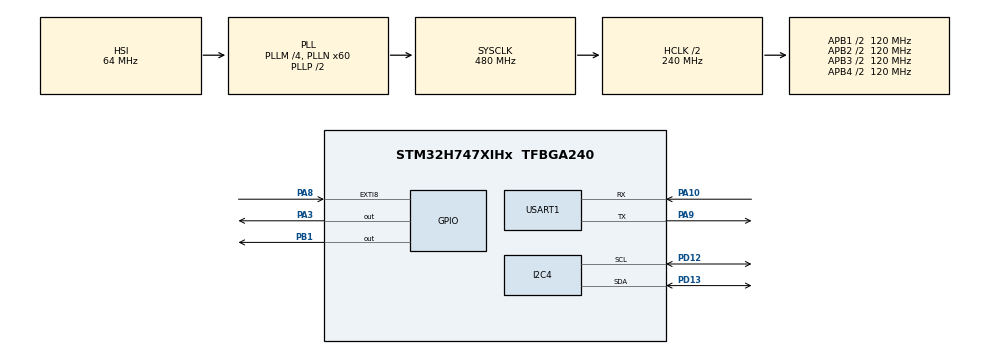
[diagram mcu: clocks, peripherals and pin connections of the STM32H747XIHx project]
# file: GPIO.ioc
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CortexM4.IPs=CORTEX_M4\:I,DEBUG,FATFS_M4\:I,FREERTOS_M4\:I,IWDG2\:I,OPENAMP_M4\:I,PDM2PCM_M4\:I,PWR,RCC,RESMGR_UTILITY,SYS_M4\:I,USB_DEVICE_M4\:I,USB_HOST_M4\:I,VREFBUF,WWDG2\:I,GPIO,DMA,BDMA,MDMA,NVIC2\:I
CortexM7.IPs=CORTEX_M7\:I,DEBUG\:I,FATFS_M7\:I,FREERTOS_M7\:I,IWDG1\:I,OPENAMP_M7\:I,PDM2PCM_M7\:I,PWR\:I,RCC\:I,RESMGR_UTILITY\:I,SYS\:I,USB_DEVICE_M7\:I,USB_HOST_M7\:I,VREFBUF\:I,WWDG1\:I,GPIO\:I,DMA\:I,BDMA\:I,MDMA\:I,NVIC1\:I,USART1\:I,I2C4\:I
CortexM7.Pins=PA8,PB1,PA3
I2C4.Timing=0x307075B1
Mcu.Family=STM32H7
Mcu.Name=STM32H747XIHx
Mcu.Package=TFBGA240
NVIC1.EXTI9_5_IRQn=true\:0\:0\:false\:false\:true\:true\:true\:true
NVIC1.PriorityGroup=NVIC_PRIORITYGROUP_4
NVIC1.USART1_IRQn=true\:0\:0\:false\:false\:true\:true\:true\:true
NVIC2.PriorityGroup=NVIC_PRIORITYGROUP_4
PA10.Mode=Asynchronous
PA10.PinAttribute=CortexM7
PA10.Signal=USART1_RX
PA3.PinAttribute=CortexM7
PA3.PinState=GPIO_PIN_SET
PA3.Signal=GPIO_Output
PA8.GPIO_PuPd=GPIO_PULLDOWN
PA8.PinAttribute=CortexM7
PA8.Signal=GPXTI8
PA9.Mode=Asynchronous
PA9.PinAttribute=CortexM7
PA9.Signal=USART1_TX
PB1.PinAttribute=CortexM7
PB1.PinState=GPIO_PIN_SET
PB1.Signal=GPIO_Output
PD12.Mode=I2C
PD12.PinAttribute=CortexM7
PD12.Signal=I2C4_SCL
PD13.Mode=I2C
PD13.PinAttribute=CortexM7
PD13.Signal=I2C4_SDA
PH0-OSC_IN\ (PH0).Mode=HSE-External-Oscillator
PH0-OSC_IN\ (PH0).PinAttribute=Free
PH0-OSC_IN\ (PH0).Signal=RCC_OSC_IN
PH1-OSC_OUT\ (PH1).Mode=HSE-External-Oscillator
PH1-OSC_OUT\ (PH1).PinAttribute=Free
PH1-OSC_OUT\ (PH1).Signal=RCC_OSC_OUT
ProjectManager.HeapSize=M4-0x200,M7-0x200
ProjectManager.StackSize=M4-0x400,M7-0x400
ProjectManager.TargetToolchain=Makefile
RCC.ADCFreq_Value=129000000
RCC.APB1Freq_Value=120000000
RCC.APB2Freq_Value=120000000
RCC.APB3Freq_Value=120000000
RCC.APB4Freq_Value=120000000
RCC.CortexFreq_Value=480000000
RCC.D1PPRE=RCC_APB3_DIV2
RCC.D2PPRE1=RCC_APB1_DIV2
RCC.D2PPRE2=RCC_APB2_DIV2
RCC.D3PPRE=RCC_APB4_DIV2
RCC.DIVM1=4
RCC.DIVN1=60
RCC.HCLKFreq_Value=240000000
RCC.HPRE=RCC_HCLK_DIV2
RCC.PLL2FRACN=0
RCC.PLL3FRACN=0
RCC.PLLFRACN=0
RCC.SYSCLKFreq_VALUE=480000000
RCC.SYSCLKSource=RCC_SYSCLKSOURCE_PLLCLK
RCC.USBFreq_Value=480000000
SYS.userName=SYS_M7
USART1.VirtualMode-Asynchronous=VM_ASYNC
VP_SYS_M4_VS_Systick.Mode=SysTick
board=custom

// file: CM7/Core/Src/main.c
/* USER CODE BEGIN Header */
/**
  ******************************************************************************
  * @file           : main.c
  * @brief          : Main program body
  ******************************************************************************
  * @attention
  *
  * Copyright (c) 2026 STMicroelectronics.
  * All rights reserved.
  *
  * This software is licensed under terms that can be found in the LICENSE file
  * in the root directory of this software component.
  * If no LICENSE file comes with this software, it is provided AS-IS.
  *
  ******************************************************************************
  */
/* USER CODE END Header */
#include "main.h"
#include "i2c.h"
#include "usart.h"
#include "gpio.h"

/* USER CODE BEGIN Includes */
#include <stdio.h>
#include "boot_config.h"
#include "boot_jump.h"
#include "boot_eeprom.h"
#include "boot_slot.h"
#include "bsp_eeprom.h"
/* USER CODE END Includes */

/* USER CODE BEGIN PD */

#ifndef HSEM_ID_0
#define HSEM_ID_0 (0U) /* HW semaphore 0*/
#endif

/* USER CODE END PD */

void SystemClock_Config(void);

int main(void)
{

/* USER CODE BEGIN Boot_Mode_Sequence_0 */
  int32_t timeout;
/* USER CODE END Boot_Mode_Sequence_0 */

/* USER CODE BEGIN Boot_Mode_Sequence_1 */
  /* 等待 CM4 进入 STOP；超时仍继续，避免未烧 CM4 时 Bootloader 卡死 */
  timeout = 0xFFFF;
  while((__HAL_RCC_GET_FLAG(RCC_FLAG_D2CKRDY) != RESET) && (timeout-- > 0));
  if ( timeout < 0 )
  {
    /* CM4 未进 STOP，IAP 跳转前由 Boot_HoldCm4() 拉住 CM4 */
  }
/* USER CODE END Boot_Mode_Sequence_1 */
  /* MCU Configuration--------------------------------------------------------*/

  /* Reset of all peripherals, Initializes the Flash interface and the Systick. */
  HAL_Init();

  /* Configure the system clock */
  SystemClock_Config();
/* USER CODE BEGIN Boot_Mode_Sequence_2 */
  /* Bootloader 不在此处唤醒 CM4；由 APP �? Boot_Mode_Sequence_2 负责 */
/* USER CODE END Boot_Mode_Sequence_2 */

  /* Initialize all configured peripherals */
  MX_GPIO_Init();
  MX_USART1_UART_Init();
  MX_I2C4_Init();
  /* USER CODE BEGIN 2 */
  boot_eeprom_meta_t meta;
  uint8_t boot_slot;
  uint32_t app_base;

  if (BSP_Eeprom_Init() && (boot_eeprom_init() == 0)) {
    printf("eeprom=ready\r\n");
    printf("[BOOT] EEPROM meta @ 0x%04X / 0x%04X\r\n",
           (unsigned int)BOOT_EE_COPY0_ADDR,
           (unsigned int)BOOT_EE_COPY1_ADDR);
  } else {
    printf("eeprom=missing\r\n");
  }

  printf("\r\n=== STM32H7 Bootloader (CM7) ===\r\n");
  printf("Tag: %s\r\n", BOOT_FW_TAG);
  printf("Map: Boot@0x%08lX + AppA@0x%08lX(%uKB) + AppB@0x%08lX(%uKB)\r\n",
         (unsigned long)BOOTLOADER_FLASH_BASE,
         (unsigned long)CM7_APP_SLOT_A_BASE,
         (unsigned int)(CM7_APP_SLOT_SIZE / 1024U),
         (unsigned long)CM7_APP_SLOT_B_BASE,
         (unsigned int)(CM7_APP_SLOT_SIZE / 1024U));
  printf("USART1 115200, PA9/PA10\r\n");

  (void)boot_eeprom_load(&meta);

  {
    uint8_t slot_a_ok = boot_slot_is_valid(CM7_APP_SLOT_A_INDEX);
    uint8_t slot_b_ok = boot_slot_is_valid(CM7_APP_SLOT_B_INDEX);

    printf("[BOOT] meta: active=%u pending=%u trial=%u flags=0x%02X\r\n",
           (unsigned int)meta.active_slot,
           (unsigned int)meta.pending_slot,
           (unsigned int)meta.boot_trial,
           (unsigned int)meta.flags);
    printf("[BOOT] slot A(0x%08lX) valid=%u, slot B(0x%08lX) valid=%u\r\n",
           (unsigned long)CM7_APP_SLOT_A_BASE,
           (unsigned int)slot_a_ok,
           (unsigned long)CM7_APP_SLOT_B_BASE,
           (unsigned int)slot_b_ok);
  }

  boot_slot = boot_eeprom_prepare_boot(&meta);
  app_base = boot_slot_base(boot_slot);

  if (Boot_IsAppValidAt(app_base))
  {
    uint32_t sp = *(__IO uint32_t *)app_base;
    uint32_t pc = *(__IO uint32_t *)(app_base + 4U);

    printf("[BOOT] jump slot %u @ 0x%08lX\r\n",
           (unsigned int)boot_slot, (unsigned long)app_base);
    printf("[BOOT] vec SP=0x%08lX Reset=0x%08lX\r\n", (unsigned long)sp, (unsigned long)pc);
    printf("[BOOT] D2CKRDY=%u (1=CM4 domain active)\r\n",
           (unsigned int)(__HAL_RCC_GET_FLAG(RCC_FLAG_D2CKRDY) != RESET));
    printf("[BOOT] hold CM4 reset, then jump...\r\n");
    Boot_JumpToAppAt(app_base);
    printf("[BOOT] ERROR: Jump returned (should never happen)\r\n");
  }
  else
  {
    uint32_t sp_a = *(__IO uint32_t *)CM7_APP_SLOT_A_BASE;
    uint32_t pc_a = *(__IO uint32_t *)(CM7_APP_SLOT_A_BASE + 4U);
    uint32_t sp_b = *(__IO uint32_t *)CM7_APP_SLOT_B_BASE;
    uint32_t pc_b = *(__IO uint32_t *)(CM7_APP_SLOT_B_BASE + 4U);

    printf("[BOOT] no valid APP (tried slot %u @ 0x%08lX), stay in Boot.\r\n",
           (unsigned int)boot_slot, (unsigned long)app_base);
    printf("  A: SP=0x%08lX Reset=0x%08lX valid=%u\r\n",
           (unsigned long)sp_a, (unsigned long)pc_a,
           (unsigned int)boot_slot_is_valid(CM7_APP_SLOT_A_INDEX));
    printf("  B: SP=0x%08lX Reset=0x%08lX valid=%u\r\n",
           (unsigned long)sp_b, (unsigned long)pc_b,
           (unsigned int)boot_slot_is_valid(CM7_APP_SLOT_B_INDEX));
  }
  /* USER CODE END 2 */

  /* Infinite loop */
  while (1)
  {

    /* USER CODE BEGIN 3 */
    HAL_Delay(1000);
  }
  /* USER CODE END 3 */
}

void SystemClock_Config(void)
{
  RCC_OscInitTypeDef RCC_OscInitStruct = {0};
  RCC_ClkInitTypeDef RCC_ClkInitStruct = {0};

  /** Supply configuration update enable
  */
  HAL_PWREx_ConfigSupply(PWR_LDO_SUPPLY);

  /** Configure the main internal regulator output voltage
  */
  __HAL_PWR_VOLTAGESCALING_CONFIG(PWR_REGULATOR_VOLTAGE_SCALE0);

  while(!__HAL_PWR_GET_FLAG(PWR_FLAG_VOSRDY)) {}

  /** Initializes the RCC Oscillators according to the specified parameters
  * in the RCC_OscInitTypeDef structure.
  */
  RCC_OscInitStruct.OscillatorType = RCC_OSCILLATORTYPE_HSI;
  RCC_OscInitStruct.HSIState = RCC_HSI_DIV1;
  RCC_OscInitStruct.HSICalibrationValue = RCC_HSICALIBRATION_DEFAULT;
  RCC_OscInitStruct.PLL.PLLState = RCC_PLL_ON;
  RCC_OscInitStruct.PLL.PLLSource = RCC_PLLSOURCE_HSI;
  RCC_OscInitStruct.PLL.PLLM = 4;
  RCC_OscInitStruct.PLL.PLLN = 60;
  RCC_OscInitStruct.PLL.PLLP = 2;
  RCC_OscInitStruct.PLL.PLLQ = 2;
  RCC_OscInitStruct.PLL.PLLR = 2;
  RCC_OscInitStruct.PLL.PLLRGE = RCC_PLL1VCIRANGE_3;
  RCC_OscInitStruct.PLL.PLLVCOSEL = RCC_PLL1VCOWIDE;
  RCC_OscInitStruct.PLL.PLLFRACN = 0;
  if (HAL_RCC_OscConfig(&RCC_OscInitStruct) != HAL_OK)
  {
    Error_Handler();
  }

  /** Initializes the CPU, AHB and APB buses clocks
  */
  RCC_ClkInitStruct.ClockType = RCC_CLOCKTYPE_HCLK|RCC_CLOCKTYPE_SYSCLK
                              |RCC_CLOCKTYPE_PCLK1|RCC_CLOCKTYPE_PCLK2
                              |RCC_CLOCKTYPE_D3PCLK1|RCC_CLOCKTYPE_D1PCLK1;
  RCC_ClkInitStruct.SYSCLKSource = RCC_SYSCLKSOURCE_PLLCLK;
  RCC_ClkInitStruct.SYSCLKDivider = RCC_SYSCLK_DIV1;
  RCC_ClkInitStruct.AHBCLKDivider = RCC_HCLK_DIV2;
  RCC_ClkInitStruct.APB3CLKDivider = RCC_APB3_DIV2;
  RCC_ClkInitStruct.APB1CLKDivider = RCC_APB1_DIV2;
  RCC_ClkInitStruct.APB2CLKDivider = RCC_APB2_DIV2;
  RCC_ClkInitStruct.APB4CLKDivider = RCC_APB4_DIV2;

  if (HAL_RCC_ClockConfig(&RCC_ClkInitStruct, FLASH_LATENCY_4) != HAL_OK)
  {
    Error_Handler();
  }
}

void Error_Handler(void)
{
  __disable_irq();
  while (1)
  {
  }
}
